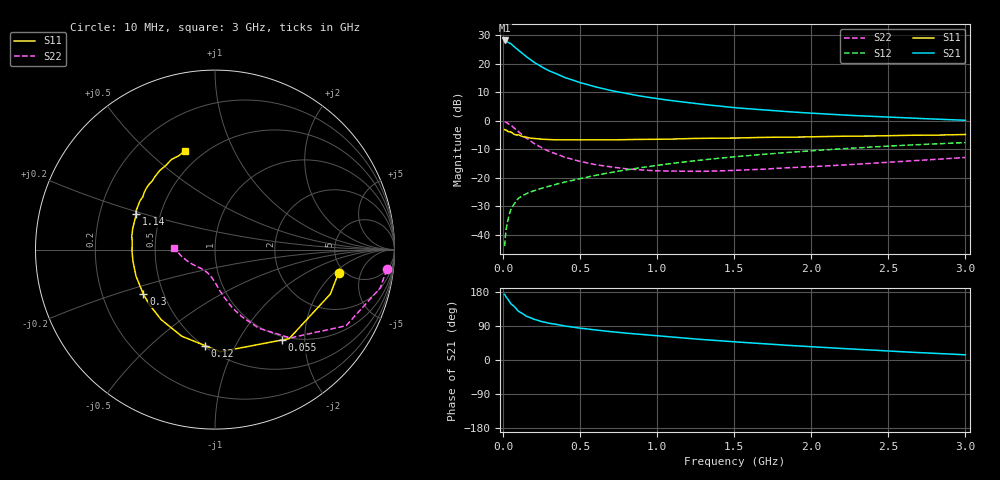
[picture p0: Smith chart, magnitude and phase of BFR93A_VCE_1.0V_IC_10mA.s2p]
! Infineon Technologies  Discrete & RF Semiconductors
! BFR93A
! VCE =  1.0 V,  IC =  10 mA
! Common Emitter S-Parameters:  Nov 2015
# GHz  S  MA  R  50
!  f  S11  S21  S12  S22
! GHz  MAG  ANG  MAG  ANG  MAG  ANG  MAG  ANG
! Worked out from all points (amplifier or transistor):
!   180 points, 10 MHz to 3 GHz, reference 50 ohm
!   highest |S21| = 28.2 dB at 10 MHz (marker M1)
!   |S21| within 3 dB of that: start of sweep to 90.09 MHz
!   unconditionally stable (mu >= 1): 519.2 MHz to end of sweep
!   at 160 MHz: K = 0.53, MSG = 23.8 dB, |S12| = -25.4 dB
!   at 1.22 GHz: K = 1.12, MAG = 8.1 dB, |S12| = -14.2 dB
!   at 3 GHz: K = 1.03, MAG = 2.9 dB, |S12| = -7.6 dB
!   S11 on the Smith chart (normalised r, x): 10 MHz: 4.47, -2.28; 55 MHz: 0.94, -1.56; 120 MHz: 0.51, -0.76; 300 MHz: 0.39, -0.25; 1.14 GHz: 0.36, +0.19; 3 GHz: 0.40, +0.66
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0.01  0.7006 -10.7  25.82 173.0  0.0063 84.6  0.9631 -6.6
0.02  0.6887 -21.1  25.29 166.4  0.0124 78.8  0.9454 -13.0
0.025  0.67 -25.6  24.7 163.7  0.0149 75.4  0.9233 -15.6
0.05  0.6455 -50.2  22.67 148.8  0.0276 67.8  0.8447 -30.1
0.055  0.6275 -53.3  22.05 147.2  0.0291 66.1  0.8214 -31.6
0.1  0.5699 -87.0  17.46 128.5  0.0438 56.1  0.6464 -49.6
0.12  0.5375 -96.0  15.76 124.2  0.0473 54.0  0.5852 -53.5
0.15  0.5171 -111.0  13.42 115.7  0.0526 51.4  0.4999 -61.0
0.2  0.4921 -127.6  10.74 107.5  0.0594 50.5  0.4027 -68.2
0.24  0.4785 -137.1  9.235 102.7  0.0642 50.7  0.3496 -72.3
0.3  0.4702 -148.1  7.537 96.8  0.0714 51.8  0.2902 -77.3
0.4  0.4642 -161.4  5.776 89.6  0.0839 54.0  0.2295 -83.4
0.52  0.4612 -172.7  4.541 83.1  0.0994 56.0  0.1892 -88.8
0.6  0.4625 -178.5  3.952 79.1  0.1103 56.9  0.1702 -92.6
0.7  0.4627 175.7  3.412 74.7  0.124 57.5  0.1552 -97.0
0.9  0.4732 165.7  2.696 67.3  0.1516 57.6  0.1372 -106.5
1.02  0.4753 160.5  2.412 63.1  0.1681 57.1  0.1322 -111.8
1.14  0.4829 156.0  2.187 59.1  0.185 56.3  0.1307 -117.7
1.52  0.4997 143.3  1.688 47.6  0.2364 53.1  0.1356 -134.8
2.02  0.5267 129.4  1.355 34.6  0.3008 47.6  0.1578 -152.5
2.52  0.5511 117.6  1.155 23.4  0.3625 41.0  0.1883 -168.1
3  0.5764 106.8  1.024 13.7  0.4161 34.3  0.2275 177.1
